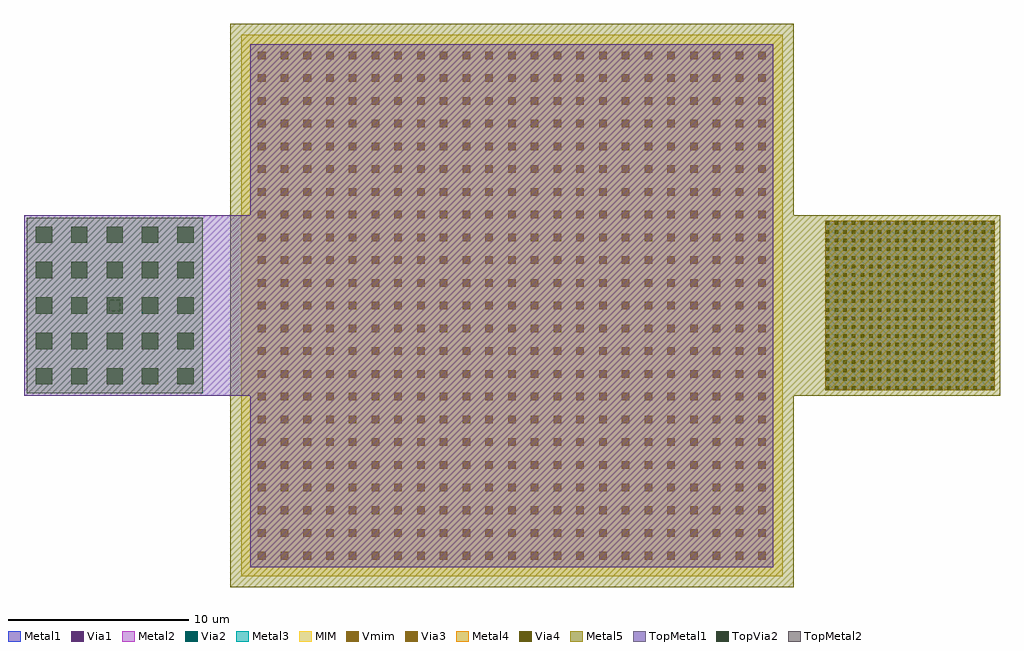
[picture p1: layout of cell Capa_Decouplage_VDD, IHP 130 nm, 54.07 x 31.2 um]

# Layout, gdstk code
import gdstk
lib = gdstk.Library(unit=1e-6, precision=1e-09)
def R(c, l, rs):  # rectangles x0, y0, x1, y1
    for r in rs: c.add(gdstk.rectangle(r[:2], r[2:], *l))
def A(c, l, x, y, w, h, nx, ny, dx, dy):  # array of equal rectangles
    R(c, l, [(x+i*dx, y+j*dy, x+i*dx+w, y+j*dy+h) for i in range(nx) for j in range(ny)])
Metal1 = (8, 0)
Metal2 = (10, 0)
Via1 = (19, 0)
Via2 = (29, 0)
Metal3 = (30, 0)
MIM = (36, 0)
Via3 = (49, 0)
Metal4 = (50, 0)
Via4 = (66, 0)
Metal5 = (67, 0)
TopMetal1 = (126, 0)
Vmim = (129, 0)
TopVia2 = (133, 0)
TopMetal2 = (134, 0)

cmim_4 = lib.new_cell('cmim$4')
R(cmim_4, MIM, [(0,0,30,30)])
R(cmim_4, Metal5, [(-0.6,-0.6,30.6,30.6)])
R(cmim_4, TopMetal1, [(0.505,0.505,29.485,29.485)])
A(cmim_4, Vmim, 0.925, 0.925, 0.42, 0.42, 23, 23, 1.26, 1.26)

via_stack = lib.new_cell('via_stack')
R(via_stack, Metal5, [(-0.31,-0.31,0.31,0.31)])
R(via_stack, TopMetal1, [(-4.87,-4.87,4.87,4.87), (-0.82,-0.82,0.82,0.82)])
A(via_stack, TopVia2, -4.37, -4.37, 0.9, 0.9, 5, 5, 1.96, 1.96)
R(via_stack, TopMetal2, [(-4.87,-4.87,4.87,4.87)])

via_stack_2 = lib.new_cell('via_stack$2')
R(via_stack_2, Metal1, [(-4.705,-4.705,4.705,4.705)])
R(via_stack_2, Metal2, [(-4.705,-4.705,4.705,4.705)])
A(via_stack_2, Via1, -4.655, -4.655, 0.19, 0.19, 20, 20, 0.48, 0.48)
A(via_stack_2, Via2, -4.655, -4.655, 0.19, 0.19, 20, 20, 0.48, 0.48)
R(via_stack_2, Metal3, [(-4.705,-4.705,4.705,4.705)])
A(via_stack_2, Via3, -4.655, -4.655, 0.19, 0.19, 20, 20, 0.48, 0.48)
R(via_stack_2, Metal4, [(-4.705,-4.705,4.705,4.705)])
A(via_stack_2, Via4, -4.655, -4.655, 0.19, 0.19, 20, 20, 0.48, 0.48)
R(via_stack_2, Metal5, [(-4.705,-4.705,4.705,4.705)])

capa_decouplage_vdd = lib.new_cell('Capa_Decouplage_VDD')
R(capa_decouplage_vdd, Metal5, [(148.55,75.925,159.985,85.925)])
R(capa_decouplage_vdd, TopMetal1, [(105.915,75.925,118.455,85.925)])
capa_decouplage_vdd.add(gdstk.Reference(cmim_4, (117.95,65.925)))
capa_decouplage_vdd.add(gdstk.Reference(via_stack, (110.94,80.925)))
capa_decouplage_vdd.add(gdstk.Reference(via_stack_2, (155,80.925)))

lib.write_gds('Capa_Decouplage_VDD.gds')
